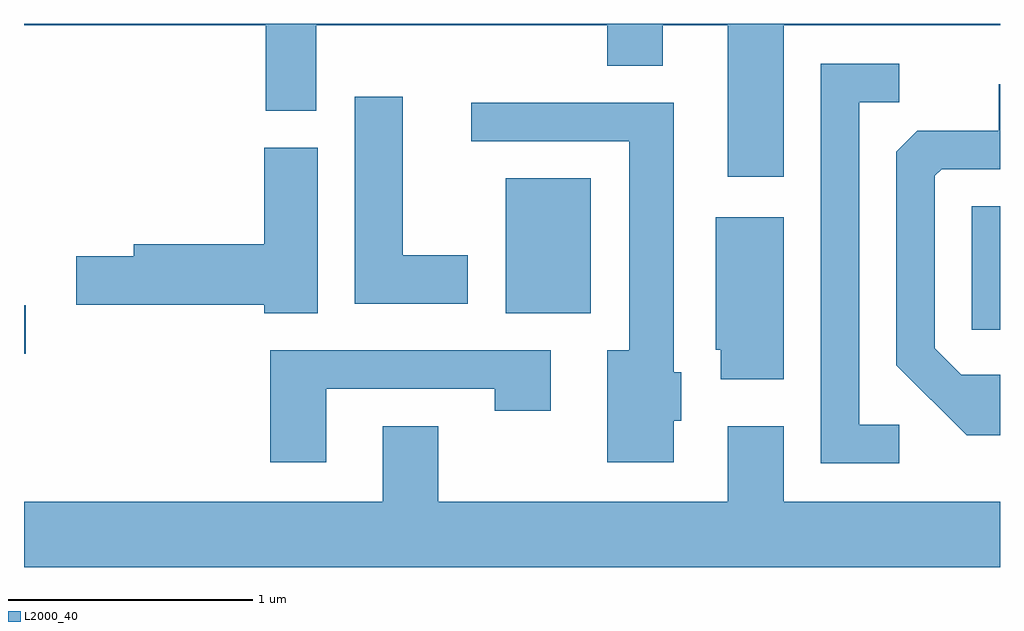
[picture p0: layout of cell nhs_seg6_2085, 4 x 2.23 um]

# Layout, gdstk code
import gdstk
lib = gdstk.Library(unit=1e-6, precision=1e-09)
def R(c, l, rs):  # rectangles x0, y0, x1, y1
    for r in rs: c.add(gdstk.rectangle(r[:2], r[2:], *l))
def P(c, l, *ps):  # polygons
    for p in ps: c.add(gdstk.Polygon(p, *l))
L2000_40 = (2000, 40)

nhs_seg6_2085 = lib.new_cell('nhs_seg6_2085')
R(nhs_seg6_2085, L2000_40, [(247.611,1650.811,247.619,1651.009), (251.496,1650.908,251.611,1651.414), (249.586,1650.976,249.934,1651.529)])
P(nhs_seg6_2085, L2000_40, [(247.611,1652.156),(248.601,1652.156),(248.601,1651.806),(248.809,1651.806),(248.809,1652.156),(250.001,1652.156),(250.001,1651.991),(250.229,1651.991),(250.229,1652.156),(250.496,1652.156),(250.496,1651.536),(250.724,1651.536),(250.724,1652.156),(251.611,1652.156),(251.611,1652.162),(247.611,1652.162)],
  [(251.198,1650.519),(251.034,1650.519),(251.034,1651.841),(251.198,1651.841),(251.198,1651.999),(250.876,1651.999),(250.876,1650.361),(251.198,1650.361)],
  [(251.611,1650.724),(251.452,1650.724),(251.344,1650.832),(251.344,1651.539),(251.372,1651.566),(251.611,1651.566),(251.611,1651.914),(251.606,1651.914),(251.606,1651.724),(251.272,1651.724),(251.186,1651.639),(251.186,1650.764),(251.474,1650.476),(251.611,1650.476)],
  [(249.429,1651.214),(249.164,1651.214),(249.164,1651.864),(248.966,1651.864),(248.966,1651.016),(249.429,1651.016)],
  [(250.274,1650.536),(250.304,1650.536),(250.304,1650.734),(250.274,1650.734),(250.274,1651.839),(249.443,1651.839),(249.443,1651.681),(250.091,1651.681),(250.091,1650.824),(250.001,1650.824),(250.001,1650.366),(250.274,1650.366)],
  [(248.814,1651.654),(248.596,1651.654),(248.596,1651.259),(248.061,1651.259),(248.061,1651.209),(247.826,1651.209),(247.826,1651.011),(248.596,1651.011),(248.596,1650.976),(248.814,1650.976)],
  [(250.724,1651.369),(250.446,1651.369),(250.446,1650.826),(250.466,1650.826),(250.466,1650.706),(250.724,1650.706)],
  [(248.849,1650.666),(249.541,1650.666),(249.541,1650.576),(249.769,1650.576),(249.769,1650.824),(248.621,1650.824),(248.621,1650.366),(248.849,1650.366)],
  [(251.611,1650.204),(250.724,1650.204),(250.724,1650.514),(250.496,1650.514),(250.496,1650.204),(249.309,1650.204),(249.309,1650.514),(249.081,1650.514),(249.081,1650.204),(247.611,1650.204),(247.611,1649.936),(251.611,1649.936)])

lib.write_gds('nhs_seg6_2085.gds')
